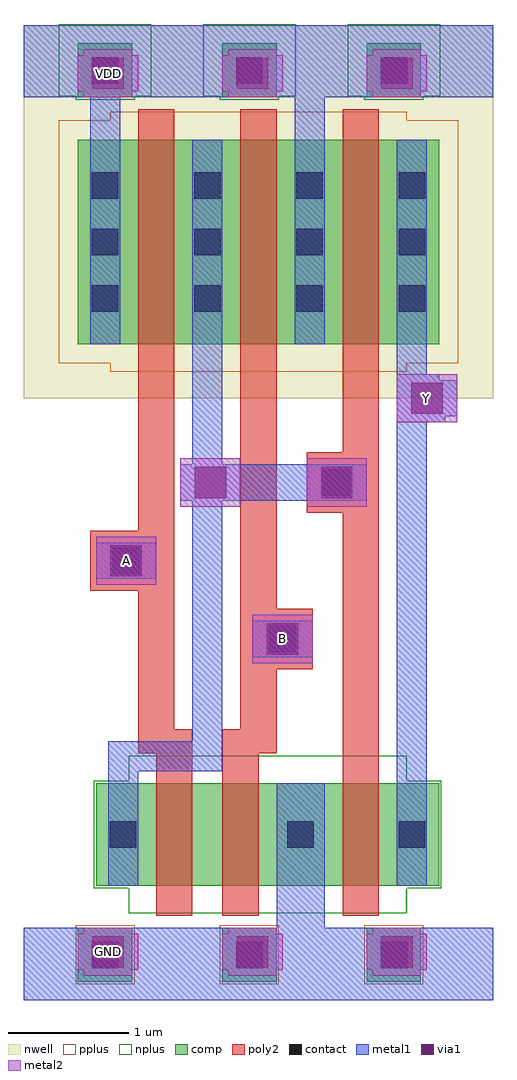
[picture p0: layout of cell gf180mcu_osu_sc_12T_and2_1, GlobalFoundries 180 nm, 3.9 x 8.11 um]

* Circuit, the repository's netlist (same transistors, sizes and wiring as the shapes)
.inc "../../char/techfiles/design.hspice"
.lib "../../char/techfiles/sm141064.hspice" typical

.GLOBAL VDD
.GLOBAL GND

.option scale=0.05u

.subckt gf180mcu_osu_sc_12T_and2_1 A B Y
X0 Y a_12_16 VDD VDD pmos_3p3 w=34 l=6
X1 VDD B a_12_16 VDD pmos_3p3 w=34 l=6
X2 a_12_16 A VDD VDD pmos_3p3 w=34 l=6
X3 Y a_12_16 GND GND nmos_3p3 w=17 l=6
X4 a_28_16 A a_12_16 GND nmos_3p3 w=17 l=6
X5 GND B a_28_16 GND nmos_3p3 w=17 l=6
.ends

** hspice subcircuit dictionary

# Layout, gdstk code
import gdstk
lib = gdstk.Library(unit=1e-6, precision=1e-09)
def R(c, l, rs):  # rectangles x0, y0, x1, y1
    for r in rs: c.add(gdstk.rectangle(r[:2], r[2:], *l))
def A(c, l, x, y, w, h, nx, ny, dx, dy):  # array of equal rectangles
    R(c, l, [(x+i*dx, y+j*dy, x+i*dx+w, y+j*dy+h) for i in range(nx) for j in range(ny)])
nwell = (21, 0)
comp = (22, 0)
poly2 = (30, 0)
pplus = (31, 0)
nplus = (32, 0)
contact = (33, 0)
metal1 = (34, 0)
via1 = (35, 0)
metal2 = (36, 0)

gf180mcu_osu_sc_12t_and2 = lib.new_cell('gf180mcu_osu_sc_12T_and2_1')
R(gf180mcu_osu_sc_12t_and2, nwell, [(0,4.85,3.9,7.95)])
A(gf180mcu_osu_sc_12t_and2, comp, 0.45, 0, 0.45, 0.45, 3, 2, 1.2, 7.35)
R(gf180mcu_osu_sc_12t_and2, comp, [(0.6,0.8,3.45,1.65), (0.45,5.3,3.45,7)])
R(gf180mcu_osu_sc_12t_and2, poly2, [(1.1,0.55,1.4,1.9), (1.65,0.55,1.95,1.9), (2.65,0.55,2.95,3.9), (0.95,1.9,1.4,2.1), (1.65,1.9,2.1,2.1), (0.95,2.1,1.25,3.25), (1.8,2.1,2.1,2.6), (1.8,2.6,2.4,3.1), (1.8,3.1,2.1,7.25), (0.55,3.25,1.25,3.75), (0.95,3.75,1.25,7.25), (2.35,3.9,2.95,4.4), (2.65,4.4,2.95,7.25)])
A(gf180mcu_osu_sc_12t_and2, pplus, 0.43, -0.02, 0.49, 0.49, 3, 1, 1.2, 0)
R(gf180mcu_osu_sc_12t_and2, pplus, [(0.72,5.07,3.18,5.14), (0.29,5.14,3.61,7.16), (0.72,7.16,3.18,7.23)])
A(gf180mcu_osu_sc_12t_and2, nplus, 0.43, 7.33, 0.49, 0.03, 3, 1, 1.2, 0)
A(gf180mcu_osu_sc_12t_and2, nplus, 0.29, 7.36, 0.77, 0.6, 3, 1, 1.2, 0)
R(gf180mcu_osu_sc_12t_and2, nplus, [(0.87,0.57,3.18,0.78), (0.58,0.78,3.47,1.67), (0.87,1.67,3.18,1.88)])
A(gf180mcu_osu_sc_12t_and2, contact, 0.565, 0.115, 0.22, 0.22, 3, 2, 1.2, 7.35)
A(gf180mcu_osu_sc_12t_and2, contact, 0.565, 5.57, 0.22, 0.22, 4, 3, 0.85, 0.47)
R(gf180mcu_osu_sc_12t_and2, contact, [(0.715,1.115,0.935,1.335), (2.19,1.115,2.41,1.335), (3.115,1.115,3.335,1.335), (2.04,2.74,2.26,2.96), (0.74,3.39,0.96,3.61), (2.49,4.04,2.71,4.26)])
R(gf180mcu_osu_sc_12t_and2, metal1, [(0,-0.15,3.9,0.45), (2.1,0.45,2.5,1.65), (0.7,0.8,0.95,1.75), (3.1,0.8,3.35,4.65), (0.7,1.75,1.65,2), (1.4,2,1.65,4), (1.9,2.7,2.4,3), (0.6,3.35,1.1,3.65), (1.3,4,2.85,4.3), (1.4,4.3,1.65,7), (3.1,4.65,3.5,4.7), (3.1,4.7,3.6,5), (3.1,5,3.45,5.05), (3.1,5.05,3.35,7), (0.55,5.3,0.8,7.35), (2.25,5.3,2.5,7.35), (0,7.35,3.9,7.95)])
A(gf180mcu_osu_sc_12t_and2, via1, 0.57, 0.12, 0.26, 0.26, 3, 2, 1.2, 7.3)
R(gf180mcu_osu_sc_12t_and2, via1, [(2.02,2.72,2.28,2.98), (0.72,3.37,0.98,3.63), (1.42,4.02,1.68,4.28), (2.47,4.02,2.73,4.28), (3.22,4.72,3.48,4.98)])
A(gf180mcu_osu_sc_12t_and2, metal2, 0.5, 0.05, 0.4, 0.05, 3, 2, 1.2, 0.35)
A(gf180mcu_osu_sc_12t_and2, metal2, 0.45, 0.1, 0.5, 0.3, 3, 2, 1.2, 7.3)
A(gf180mcu_osu_sc_12t_and2, metal2, 0.5, 7.35, 0.4, 0.05, 3, 2, 1.2, 0.35)
R(gf180mcu_osu_sc_12t_and2, metal2, [(1.9,2.65,2.4,3.05), (0.6,3.3,1.1,3.7), (1.3,3.95,1.8,4.35), (2.35,3.95,2.85,4.35), (3.1,4.65,3.6,5.05)])
gf180mcu_osu_sc_12t_and2.add(gdstk.Label('VDD', (0.7,7.55), layer=36, texttype=0))
gf180mcu_osu_sc_12t_and2.add(gdstk.Label('GND', (0.7,0.25), layer=36, texttype=0))
gf180mcu_osu_sc_12t_and2.add(gdstk.Label('A', (0.85,3.5), layer=36, texttype=10))
gf180mcu_osu_sc_12t_and2.add(gdstk.Label('B', (2.15,2.85), layer=36, texttype=10))
gf180mcu_osu_sc_12t_and2.add(gdstk.Label('Y', (3.35,4.85), layer=36, texttype=10))

lib.write_gds('gf180mcu_osu_sc_12T_and2_1.gds')
